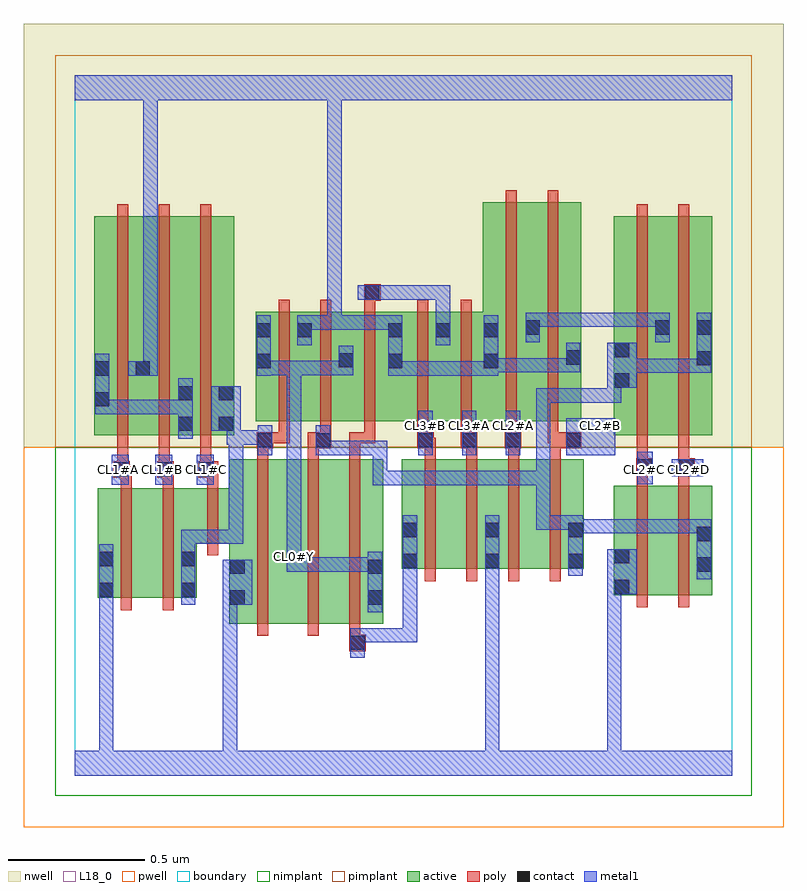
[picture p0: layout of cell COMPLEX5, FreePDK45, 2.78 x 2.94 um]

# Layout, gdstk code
import gdstk
lib = gdstk.Library(unit=1e-6, precision=1e-09)
def R(c, l, rs):  # rectangles x0, y0, x1, y1
    for r in rs: c.add(gdstk.rectangle(r[:2], r[2:], *l))
def A(c, l, x, y, w, h, nx, ny, dx, dy):  # array of equal rectangles
    R(c, l, [(x+i*dx, y+j*dy, x+i*dx+w, y+j*dy+h) for i in range(nx) for j in range(ny)])
active = (1, 0)
pwell = (2, 0)
nwell = (3, 0)
nimplant = (4, 0)
pimplant = (5, 0)
poly = (9, 0)
contact = (10, 0)
metal1 = (11, 0)
L18_0 = (18, 0)
boundary = (235, 0)

complex5 = lib.new_cell('COMPLEX5')
R(complex5, active, [(0.564,0.556,0.794,1.156), (0.794,0.556,0.946,1.156), (0.946,0.556,1.126,1.156), (1.066,0.556,1.126,1.156), (0.564,0.622,0.624,1.05), (0.084,0.65,0.144,1.05), (0.084,0.65,0.264,1.05), (0.264,0.65,0.444,1.05), (0.384,0.65,0.444,1), (1.968,0.66,2.028,1.06), (1.968,0.66,2.148,1.06), (2.148,0.66,2.328,1.06), (2.268,0.66,2.328,1.06), (1.194,0.756,1.254,1.156), (1.194,0.756,1.374,1.156), (1.374,0.756,1.554,1.156), (1.494,0.756,1.678,1.156), (1.494,0.756,1.554,0.928), (1.678,0.756,1.858,1.156), (1.798,0.756,1.858,1.156), (0.384,0.85,0.624,1.05), (0.07,1.244,0.13,2.044), (0.07,1.244,0.278,2.044), (0.218,1.244,0.278,2.044), (0.218,1.244,0.434,2.044), (0.374,1.244,0.434,2.044), (0.374,1.244,0.582,2.044), (0.522,1.244,0.582,2.044), (1.968,1.244,2.028,2.044), (1.968,1.244,2.176,2.044), (2.116,1.244,2.328,2.044), (2.268,1.244,2.328,2.044), (0.66,1.296,0.72,1.696), (0.66,1.296,0.868,1.696), (0.808,1.296,0.868,1.696), (0.808,1.296,1.02,1.696), (0.96,1.296,1.2,1.696), (0.96,1.296,1.02,1.644), (1.14,1.296,1.2,1.658), (1.14,1.296,1.374,1.696), (1.314,1.296,1.55,1.696), (1.314,1.296,1.374,1.658), (1.49,1.296,1.55,2.096), (1.49,1.296,1.702,2.096), (1.642,1.296,1.85,2.096), (1.642,1.296,1.702,2.044), (1.79,1.296,1.85,2.044), (2.116,1.608,2.176,2.044)])
R(complex5, pwell, [(-0.188,-0.188,2.588,1.2)])
R(complex5, nwell, [(-0.188,1.2,2.588,2.748)])
R(complex5, nimplant, [(-0.072,-0.072,2.472,1.2)])
R(complex5, pimplant, [(-0.072,1.2,2.472,2.632)])
A(complex5, poly, 1.278, 0.712, 0.04, 0.488, 4, 1, 0.152, 0)
A(complex5, poly, 0.154, 1.11, 0.04, 0.13, 3, 1, 0.152, 0)
A(complex5, poly, 1.278, 1.16, 0.04, 0.076, 4, 1, 0.152, 0)
A(complex5, poly, 1.25, 1.196, 0.06, 0.06, 3, 1, 0.16, 0)
A(complex5, poly, 0.154, 1.2, 0.04, 0.888, 3, 1, 0.152, 0)
R(complex5, poly, [(1.002,0.456,1.062,0.516), (1.002,0.476,1.042,0.552), (0.666,0.512,0.706,1.2), (0.85,0.512,0.89,1.2), (1.002,0.512,1.042,1.2), (0.168,0.606,0.208,1.094), (0.32,0.606,0.36,1.094), (2.052,0.616,2.092,1.104), (2.204,0.616,2.244,1.104), (0.484,0.806,0.524,1.094), (0.168,1.054,0.208,1.13), (0.32,1.054,0.36,1.13), (0.484,1.054,0.524,1.13), (2.052,1.064,2.092,1.14), (2.204,1.064,2.244,1.14), (0.14,1.09,0.2,1.15), (0.16,1.09,0.2,1.13), (0.16,1.09,0.208,1.13), (0.3,1.09,0.36,1.15), (0.45,1.09,0.524,1.15), (2.05,1.1,2.11,1.16), (2.052,1.1,2.092,1.14), (2.052,1.1,2.092,1.14), (2.204,1.1,2.264,1.16), (0.306,1.11,0.346,1.15), (0.306,1.11,0.346,1.15), (0.458,1.11,0.498,1.15), (0.458,1.11,0.498,1.15), (2.052,1.12,2.092,1.24), (2.204,1.12,2.244,1.24), (2.204,1.12,2.244,1.16), (2.204,1.12,2.244,1.16), (0.666,1.16,0.706,1.236), (0.85,1.16,0.89,1.236), (1.002,1.16,1.042,1.256), (0.664,1.196,0.724,1.256), (0.85,1.196,0.936,1.256), (1.27,1.196,1.31,1.236), (1.27,1.196,1.318,1.236), (1.43,1.196,1.47,1.236), (1.43,1.196,1.47,1.236), (1.582,1.196,1.622,1.236), (1.582,1.196,1.622,1.236), (1.734,1.196,1.85,1.256), (2.052,1.2,2.092,2.088), (2.204,1.2,2.244,2.088), (0.684,1.216,0.724,1.256), (0.684,1.216,0.784,1.256), (0.744,1.216,0.784,1.292), (0.896,1.216,0.936,1.256), (0.896,1.216,0.936,1.256), (0.896,1.216,0.936,1.292), (1.002,1.216,1.042,1.256), (1.002,1.216,1.042,1.256), (1.002,1.216,1.096,1.256), (1.056,1.216,1.096,1.292), (1.25,1.216,1.29,1.292), (1.41,1.216,1.45,1.292), (1.574,1.216,1.614,1.292), (1.726,1.216,1.766,1.292), (1.726,1.216,1.774,1.256), (1.734,1.216,1.774,1.256), (0.744,1.252,0.784,1.74), (0.896,1.252,0.936,1.74), (1.056,1.252,1.096,1.74), (1.25,1.252,1.29,1.74), (1.41,1.252,1.45,1.74), (1.574,1.252,1.614,2.14), (1.726,1.252,1.766,2.14), (1.056,1.7,1.096,1.776), (1.056,1.736,1.116,1.796)])
A(complex5, contact, 1.254, 1.2, 0.052, 0.052, 3, 1, 0.16, 0)
R(complex5, contact, [(1.006,0.46,1.058,0.512), (0.568,0.626,0.62,0.678), (1.07,0.626,1.122,0.678), (0.088,0.654,0.14,0.706), (0.388,0.654,0.44,0.706), (1.972,0.664,2.024,0.716), (0.568,0.738,0.62,0.79), (1.07,0.738,1.122,0.79), (2.272,0.746,2.324,0.798), (1.198,0.76,1.25,0.812), (1.498,0.76,1.55,0.812), (1.802,0.76,1.854,0.812), (0.088,0.766,0.14,0.818), (0.388,0.766,0.44,0.818), (1.972,0.776,2.024,0.828), (2.272,0.858,2.324,0.91), (1.198,0.872,1.25,0.924), (1.498,0.872,1.55,0.924), (1.802,0.872,1.854,0.924), (0.144,1.094,0.196,1.146), (0.304,1.094,0.356,1.146), (0.454,1.094,0.506,1.146), (2.054,1.104,2.106,1.156), (2.208,1.104,2.26,1.156), (0.668,1.2,0.72,1.252), (0.88,1.2,0.932,1.252), (1.794,1.2,1.846,1.252), (0.378,1.26,0.43,1.312), (0.526,1.26,0.578,1.312), (0.074,1.35,0.126,1.402), (0.378,1.372,0.43,1.424), (0.526,1.372,0.578,1.424), (1.972,1.418,2.024,1.47), (0.074,1.462,0.126,1.514), (0.222,1.462,0.274,1.514), (0.664,1.49,0.716,1.542), (1.144,1.49,1.196,1.542), (1.494,1.49,1.546,1.542), (0.964,1.492,1.016,1.544), (2.272,1.5,2.324,1.552), (1.794,1.502,1.846,1.554), (1.972,1.53,2.024,1.582), (0.664,1.602,0.716,1.654), (0.812,1.602,0.864,1.654), (1.144,1.602,1.196,1.654), (1.318,1.602,1.37,1.654), (1.494,1.602,1.546,1.654), (1.646,1.612,1.698,1.664), (2.12,1.612,2.172,1.664), (2.272,1.612,2.324,1.664), (1.06,1.74,1.112,1.792)])
A(complex5, metal1, 1.254, 1.172, 0.052, 0.162, 3, 1, 0.16, 0)
R(complex5, metal1, [(0,0,2.4,0.092), (0.088,0.04,0.14,0.678), (0.54,0.04,0.592,0.678), (1.498,0.04,1.55,0.092), (1.498,0.04,1.55,0.092), (1.498,0.04,1.55,0.092), (1.498,0.04,1.55,0.092), (1.498,0.04,1.55,0.092), (1.498,0.04,1.55,0.092), (1.498,0.04,1.55,0.092), (1.498,0.04,1.55,0.092), (1.498,0.04,1.55,0.784), (1.944,0.04,1.996,0.092), (1.944,0.04,1.996,0.092), (1.944,0.04,1.996,0.092), (1.944,0.04,1.996,0.092), (1.944,0.04,1.996,0.092), (1.944,0.04,1.996,0.092), (1.944,0.04,1.996,0.092), (1.944,0.04,1.996,0.092), (1.944,0.04,1.996,0.716), (1.006,0.432,1.058,0.54), (1.006,0.488,1.196,0.54), (1.144,0.488,1.196,0.54), (1.144,0.488,1.25,0.54), (1.198,0.488,1.25,0.54), (1.198,0.488,1.25,0.54), (1.198,0.488,1.25,0.54), (1.198,0.488,1.25,0.54), (1.198,0.488,1.25,0.54), (1.198,0.488,1.25,0.784), (1.07,0.598,1.122,0.818), (0.088,0.626,0.14,0.846), (0.088,0.626,0.14,0.678), (0.088,0.626,0.14,0.678), (0.088,0.626,0.14,0.678), (0.088,0.626,0.14,0.678), (0.088,0.626,0.14,0.678), (0.088,0.626,0.14,0.678), (0.088,0.626,0.14,0.678), (0.088,0.626,0.14,0.678), (0.088,0.626,0.14,0.678), (0.088,0.626,0.14,0.678), (0.088,0.626,0.14,0.678), (0.088,0.626,0.14,0.678), (0.388,0.626,0.44,0.846), (0.54,0.626,0.592,0.678), (0.54,0.626,0.592,0.678), (0.54,0.626,0.592,0.678), (0.54,0.626,0.592,0.678), (0.54,0.626,0.592,0.678), (0.54,0.626,0.592,0.678), (0.54,0.626,0.592,0.678), (0.54,0.626,0.592,0.678), (0.54,0.626,0.648,0.79), (1.944,0.664,1.996,0.716), (1.944,0.664,1.996,0.716), (1.944,0.664,1.996,0.716), (1.944,0.664,1.996,0.716), (1.944,0.664,2.052,0.828), (2.272,0.718,2.324,0.938), (1.198,0.732,1.25,0.952), (1.498,0.732,1.55,0.952), (1.498,0.732,1.55,0.784), (1.498,0.732,1.55,0.784), (1.498,0.732,1.55,0.784), (1.498,0.732,1.55,0.784), (1.802,0.732,1.854,0.952), (0.774,0.746,0.826,0.798), (0.774,0.746,0.826,0.798), (0.774,0.746,0.826,0.854), (0.774,0.746,0.834,0.798), (0.782,0.746,0.834,0.798), (0.782,0.746,0.974,0.798), (0.922,0.746,0.974,0.798), (0.922,0.746,1.122,0.798), (1.07,0.746,1.122,0.798), (1.07,0.746,1.122,0.798), (0.388,0.794,0.44,0.846), (0.388,0.794,0.44,0.9), (0.774,0.802,0.826,1.516), (0.388,0.848,0.614,0.9), (0.562,0.848,0.614,0.9), (0.562,0.848,0.614,1.262), (1.802,0.886,2.052,0.938), (2,0.886,2.162,0.938), (2,0.886,2.052,0.938), (2,0.886,2.052,0.938), (2,0.886,2.052,0.938), (2.11,0.886,2.324,0.938), (2.11,0.886,2.162,0.938), (2.11,0.886,2.162,0.938), (2.11,0.886,2.162,0.938), (1.684,0.9,1.736,0.952), (1.684,0.9,1.736,0.952), (1.684,0.9,1.736,0.952), (1.684,0.9,1.854,0.952), (1.684,0.9,1.736,1.114), (1.088,1.062,1.25,1.114), (1.088,1.062,1.14,1.198), (1.198,1.062,1.25,1.114), (1.198,1.062,1.306,1.114), (1.254,1.062,1.416,1.114), (1.254,1.062,1.306,1.114), (1.364,1.062,1.416,1.114), (1.364,1.062,1.416,1.114), (1.364,1.062,1.416,1.114), (1.364,1.062,1.588,1.114), (1.536,1.062,1.588,1.114), (1.536,1.062,1.588,1.114), (1.536,1.062,1.588,1.114), (1.536,1.062,1.736,1.114), (1.684,1.062,1.736,1.114), (1.684,1.062,1.736,1.416), (0.134,1.064,0.196,1.174), (0.294,1.064,0.356,1.174), (0.444,1.064,0.506,1.174), (2.054,1.066,2.11,1.184), (2.18,1.094,2.294,1.156), (1.088,1.146,1.14,1.198), (1.088,1.146,1.14,1.224), (0.668,1.172,0.72,1.28), (0.88,1.172,0.932,1.28), (0.88,1.172,0.974,1.224), (0.922,1.172,0.974,1.224), (0.922,1.172,1.14,1.224), (1.794,1.172,1.974,1.306), (0.554,1.21,0.614,1.262), (0.554,1.21,0.606,1.312), (0.562,1.21,0.614,1.262), (0.562,1.21,0.614,1.262), (0.562,1.21,0.716,1.262), (0.664,1.21,0.716,1.262), (0.664,1.21,0.72,1.262), (0.378,1.232,0.43,1.452), (0.498,1.26,0.606,1.424), (0.074,1.322,0.126,1.542), (0.074,1.322,0.126,1.374), (0.074,1.322,0.126,1.374), (0.074,1.322,0.32,1.374), (0.268,1.322,0.43,1.374), (0.268,1.322,0.32,1.374), (0.268,1.322,0.32,1.374), (0.268,1.322,0.32,1.374), (1.684,1.364,1.846,1.416), (1.684,1.364,1.736,1.416), (1.684,1.364,1.736,1.416), (1.684,1.364,1.736,1.416), (1.794,1.364,1.846,1.416), (1.794,1.364,1.996,1.416), (1.944,1.364,1.996,1.416), (1.944,1.364,1.996,1.47), (1.944,1.418,2.052,1.582), (0.194,1.462,0.302,1.514), (0.25,1.462,0.302,1.514), (0.25,1.462,0.302,1.514), (0.25,1.462,0.302,1.514), (0.25,1.462,0.302,1.514), (0.25,1.462,0.302,2.52), (0.664,1.462,0.716,1.682), (1.144,1.462,1.196,1.682), (1.144,1.462,1.196,1.514), (1.144,1.462,1.196,1.514), (1.144,1.462,1.25,1.514), (1.198,1.462,1.25,1.514), (1.198,1.462,1.306,1.514), (1.254,1.462,1.306,1.514), (1.254,1.462,1.436,1.514), (1.384,1.462,1.546,1.514), (1.384,1.462,1.436,1.514), (1.384,1.462,1.436,1.514), (1.384,1.462,1.436,1.514), (1.494,1.462,1.546,1.682), (0.664,1.464,0.724,1.516), (0.672,1.464,0.724,1.516), (0.672,1.464,0.826,1.516), (0.774,1.464,0.826,1.516), (0.774,1.464,0.826,1.516), (0.774,1.464,0.826,1.516), (0.774,1.464,0.834,1.516), (0.782,1.464,0.834,1.516), (0.782,1.464,1.016,1.516), (0.964,1.464,1.016,1.572), (2,1.472,2.214,1.524), (2,1.472,2.052,1.524), (2,1.472,2.052,1.524), (2.162,1.472,2.324,1.524), (2.162,1.472,2.214,1.524), (2.162,1.472,2.214,1.524), (2.162,1.472,2.214,1.524), (2.272,1.472,2.324,1.692), (1.494,1.474,1.546,1.526), (1.494,1.474,1.546,1.526), (1.494,1.474,1.736,1.526), (1.684,1.474,1.846,1.526), (1.684,1.474,1.736,1.526), (1.794,1.474,1.846,1.526), (1.794,1.474,1.846,1.526), (1.794,1.474,1.846,1.582), (0.812,1.574,0.864,1.682), (1.318,1.574,1.37,1.682), (1.646,1.584,1.698,1.692), (2.12,1.584,2.172,1.692), (0.812,1.63,0.974,1.682), (0.812,1.63,0.864,1.682), (0.812,1.63,0.864,1.682), (0.922,1.63,0.974,1.682), (0.922,1.63,0.974,1.682), (0.922,1.63,0.974,1.682), (0.922,1.63,1.14,1.682), (0.922,1.63,0.974,2.52), (1.088,1.63,1.14,1.682), (1.088,1.63,1.196,1.682), (1.318,1.63,1.37,1.792), (1.646,1.64,1.886,1.692), (1.834,1.64,1.886,1.692), (1.834,1.64,1.886,1.692), (1.834,1.64,1.886,1.692), (1.834,1.64,2.052,1.692), (2,1.64,2.052,1.692), (2,1.64,2.052,1.692), (2,1.64,2.052,1.692), (2,1.64,2.172,1.692), (1.032,1.74,1.14,1.792), (1.088,1.74,1.25,1.792), (1.088,1.74,1.14,1.792), (1.088,1.74,1.14,1.792), (1.198,1.74,1.25,1.792), (1.198,1.74,1.306,1.792), (1.254,1.74,1.306,1.792), (1.254,1.74,1.37,1.792), (1.318,1.74,1.37,1.792), (0,2.468,2.4,2.56), (0.25,2.468,0.302,2.52), (0.25,2.468,0.302,2.52), (0.25,2.468,0.302,2.52), (0.25,2.468,0.302,2.52), (0.922,2.468,0.974,2.52), (0.922,2.468,0.974,2.52), (0.922,2.468,0.974,2.52), (0.922,2.468,0.974,2.52), (0.922,2.468,0.974,2.52), (0.922,2.468,0.974,2.52), (0.922,2.468,0.974,2.52), (0.922,2.468,0.974,2.52), (0.922,2.468,0.974,2.52), (0.922,2.468,0.974,2.52), (0.922,2.468,0.974,2.52), (0.922,2.468,0.974,2.52), (0.922,2.468,0.974,2.52), (0.922,2.468,0.974,2.52), (0.922,2.468,0.974,2.52), (0.922,2.468,0.974,2.52), (0.922,2.468,0.974,2.52), (0.922,2.468,0.974,2.52)])
A(complex5, L18_0, 0.134, 1.094, 0.052, 0.052, 3, 1, 0.16, 0)
A(complex5, L18_0, 1.254, 1.172, 0.052, 0.162, 3, 1, 0.16, 0)
A(complex5, L18_0, 1.254, 1.254, 0.052, 0.052, 3, 1, 0.16, 0)
R(complex5, L18_0, [(0,0,2.4,0.092), (0.088,0.04,0.14,0.678), (0.54,0.04,0.592,0.678), (1.498,0.04,1.55,0.092), (1.498,0.04,1.55,0.092), (1.498,0.04,1.55,0.092), (1.498,0.04,1.55,0.092), (1.498,0.04,1.55,0.092), (1.498,0.04,1.55,0.092), (1.498,0.04,1.55,0.092), (1.498,0.04,1.55,0.092), (1.498,0.04,1.55,0.784), (1.944,0.04,1.996,0.092), (1.944,0.04,1.996,0.092), (1.944,0.04,1.996,0.092), (1.944,0.04,1.996,0.092), (1.944,0.04,1.996,0.092), (1.944,0.04,1.996,0.092), (1.944,0.04,1.996,0.092), (1.944,0.04,1.996,0.092), (1.944,0.04,1.996,0.716), (1.07,0.598,1.122,0.818), (0.088,0.626,0.14,0.678), (0.088,0.626,0.14,0.678), (0.088,0.626,0.14,0.678), (0.088,0.626,0.14,0.678), (0.088,0.626,0.14,0.678), (0.088,0.626,0.14,0.678), (0.088,0.626,0.14,0.678), (0.088,0.626,0.14,0.678), (0.088,0.626,0.14,0.678), (0.088,0.626,0.14,0.678), (0.088,0.626,0.14,0.678), (0.088,0.626,0.14,0.678), (0.088,0.626,0.14,0.846), (0.54,0.626,0.592,0.678), (0.54,0.626,0.592,0.678), (0.54,0.626,0.592,0.678), (0.54,0.626,0.592,0.678), (0.54,0.626,0.592,0.678), (0.54,0.626,0.592,0.678), (0.54,0.626,0.592,0.678), (0.54,0.626,0.592,0.678), (0.54,0.626,0.648,0.79), (1.944,0.664,1.996,0.716), (1.944,0.664,1.996,0.716), (1.944,0.664,1.996,0.716), (1.944,0.664,1.996,0.716), (1.944,0.664,2.052,0.828), (1.498,0.732,1.55,0.784), (1.498,0.732,1.55,0.784), (1.498,0.732,1.55,0.784), (1.498,0.732,1.55,0.784), (1.498,0.732,1.55,0.952), (0.774,0.746,0.826,0.798), (0.774,0.746,0.826,0.798), (0.774,0.746,0.834,0.798), (0.774,0.746,0.826,0.854), (0.782,0.746,0.834,0.798), (0.782,0.746,0.974,0.798), (0.922,0.746,0.974,0.798), (0.922,0.746,1.122,0.798), (1.07,0.746,1.122,0.798), (1.07,0.746,1.122,0.798), (0.774,0.774,0.826,0.826), (0.774,0.802,0.826,1.516), (0.134,1.064,0.196,1.174), (0.294,1.064,0.356,1.174), (0.444,1.064,0.506,1.174), (2.054,1.066,2.11,1.184), (2.054,1.094,2.106,1.146), (2.18,1.094,2.294,1.156), (2.214,1.094,2.266,1.146), (1.794,1.172,1.974,1.306), (1.894,1.254,1.946,1.306), (0.194,1.462,0.302,1.514), (0.25,1.462,0.302,1.514), (0.25,1.462,0.302,1.514), (0.25,1.462,0.302,1.514), (0.25,1.462,0.302,1.514), (0.25,1.462,0.302,2.52), (0.664,1.462,0.716,1.682), (1.144,1.462,1.196,1.514), (1.144,1.462,1.196,1.514), (1.144,1.462,1.196,1.682), (1.144,1.462,1.25,1.514), (1.198,1.462,1.25,1.514), (1.198,1.462,1.306,1.514), (1.254,1.462,1.306,1.514), (1.254,1.462,1.436,1.514), (1.384,1.462,1.436,1.514), (1.384,1.462,1.436,1.514), (1.384,1.462,1.436,1.514), (1.384,1.462,1.546,1.514), (1.494,1.462,1.546,1.682), (0.664,1.464,0.724,1.516), (0.672,1.464,0.724,1.516), (0.672,1.464,0.826,1.516), (0.774,1.464,0.826,1.516), (0.774,1.464,0.826,1.516), (0.774,1.464,0.826,1.516), (0.774,1.464,0.834,1.516), (0.782,1.464,0.834,1.516), (0.782,1.464,1.016,1.516), (0.964,1.464,1.016,1.572), (1.494,1.474,1.546,1.526), (1.494,1.474,1.546,1.526), (1.494,1.474,1.736,1.526), (1.684,1.474,1.736,1.526), (1.684,1.474,1.846,1.526), (1.794,1.474,1.846,1.526), (1.794,1.474,1.846,1.526), (1.794,1.474,1.846,1.582), (0.812,1.574,0.864,1.682), (0.812,1.63,0.864,1.682), (0.812,1.63,0.864,1.682), (0.812,1.63,0.974,1.682), (0.922,1.63,0.974,1.682), (0.922,1.63,0.974,1.682), (0.922,1.63,0.974,1.682), (0.922,1.63,0.974,2.52), (0.922,1.63,1.14,1.682), (1.088,1.63,1.14,1.682), (1.088,1.63,1.196,1.682), (0,2.468,2.4,2.56), (0.25,2.468,0.302,2.52), (0.25,2.468,0.302,2.52), (0.25,2.468,0.302,2.52), (0.25,2.468,0.302,2.52), (0.922,2.468,0.974,2.52), (0.922,2.468,0.974,2.52), (0.922,2.468,0.974,2.52), (0.922,2.468,0.974,2.52), (0.922,2.468,0.974,2.52), (0.922,2.468,0.974,2.52), (0.922,2.468,0.974,2.52), (0.922,2.468,0.974,2.52), (0.922,2.468,0.974,2.52), (0.922,2.468,0.974,2.52), (0.922,2.468,0.974,2.52), (0.922,2.468,0.974,2.52), (0.922,2.468,0.974,2.52), (0.922,2.468,0.974,2.52), (0.922,2.468,0.974,2.52), (0.922,2.468,0.974,2.52), (0.922,2.468,0.974,2.52), (0.922,2.468,0.974,2.52)])
R(complex5, boundary, [(0,0,2.4,2.56)])
complex5.add(gdstk.Label('CL0#Y', (0.8,0.8), layer=11, texttype=0))
complex5.add(gdstk.Label('CL1#A', (0.16,1.12), layer=11, texttype=0))
complex5.add(gdstk.Label('CL1#B', (0.32,1.12), layer=11, texttype=0))
complex5.add(gdstk.Label('CL1#C', (0.48,1.12), layer=11, texttype=0))
complex5.add(gdstk.Label('CL2#A', (1.6,1.28), layer=11, texttype=0))
complex5.add(gdstk.Label('CL2#B', (1.92,1.28), layer=11, texttype=0))
complex5.add(gdstk.Label('CL2#C', (2.08,1.12), layer=11, texttype=0))
complex5.add(gdstk.Label('CL2#D', (2.24,1.12), layer=11, texttype=0))
complex5.add(gdstk.Label('CL3#A', (1.44,1.28), layer=11, texttype=0))
complex5.add(gdstk.Label('CL3#B', (1.28,1.28), layer=11, texttype=0))

lib.write_gds('COMPLEX5.gds')
